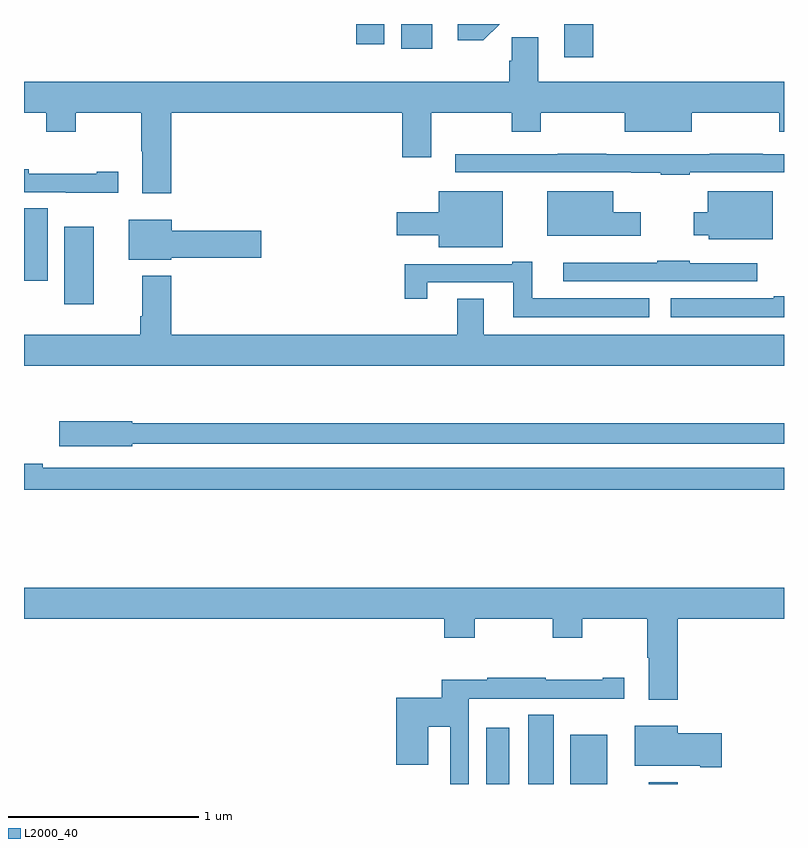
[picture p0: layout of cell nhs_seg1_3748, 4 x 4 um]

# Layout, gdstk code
import gdstk
lib = gdstk.Library(unit=1e-6, precision=1e-09)
def R(c, l, rs):  # rectangles x0, y0, x1, y1
    for r in rs: c.add(gdstk.rectangle(r[:2], r[2:], *l))
def P(c, l, *ps):  # polygons
    for p in ps: c.add(gdstk.Polygon(p, *l))
L2000_40 = (2000, 40)

nhs_seg1_3748 = lib.new_cell('nhs_seg1_3748')
R(nhs_seg1_3748, L2000_40, [(317.432,548.199,317.554,548.494), (317.654,548.199,317.788,548.564), (317.876,548.199,318.07,548.458), (318.287,548.199,318.44,548.209), (315.212,550.725,315.367,551.131), (315,550.848,315.124,551.228), (317.843,552.024,317.996,552.199), (316.985,552.068,317.149,552.199), (316.749,552.093,316.897,552.199)])
P(nhs_seg1_3748, L2000_40, [(317.503,552.199),(317.283,552.199),(317.283,552.114),(317.418,552.114)],
  [(315.776,551.732),(316.991,551.732),(316.991,551.499),(317.143,551.499),(317.143,551.732),(317.566,551.732),(317.566,551.633),(317.721,551.633),(317.721,551.732),(318.161,551.732),(318.161,551.633),(318.514,551.633),(318.514,551.732),(318.976,551.732),(318.976,551.633),(319,551.633),(319,551.896),(317.707,551.896),(317.707,552.128),(317.568,552.128),(317.568,552.006),(317.555,552.006),(317.555,551.896),(315,551.896),(315,551.732),(315.118,551.732),(315.118,551.633),(315.273,551.633),(315.273,551.732),(315.616,551.732),(315.616,551.528),(315.623,551.528),(315.623,551.307),(315.776,551.307)],
  [(318.503,551.418),(319,551.418),(319,551.514),(318.887,551.514),(318.887,551.516),(318.61,551.516),(318.61,551.514),(318.065,551.514),(318.065,551.516),(317.809,551.516),(317.809,551.514),(317.271,551.514),(317.271,551.418),(318.196,551.418),(318.196,551.417),(318.35,551.417),(318.35,551.406),(318.503,551.406)],
  [(315.496,551.422),(315.383,551.422),(315.383,551.412),(315.025,551.412),(315.025,551.434),(315,551.434),(315,551.313),(315.22,551.313),(315.22,551.312),(315.496,551.312)],
  [(317.521,551.32),(317.183,551.32),(317.183,551.209),(316.962,551.209),(316.962,551.087),(317.183,551.087),(317.183,551.024),(317.521,551.024)],
  [(318.94,551.32),(318.599,551.32),(318.599,551.209),(318.524,551.209),(318.524,551.087),(318.603,551.087),(318.603,551.066),(318.94,551.066)],
  [(318.247,551.209),(318.1,551.209),(318.1,551.32),(317.753,551.32),(317.753,551.084),(318.247,551.084)],
  [(315.774,550.969),(316.249,550.969),(316.249,551.111),(315.778,551.111),(315.778,551.17),(315.551,551.17),(315.551,550.958),(315.774,550.958)],
  [(318.859,550.941),(318.503,550.941),(318.503,550.954),(318.334,550.954),(318.334,550.942),(317.838,550.942),(317.838,550.845),(318.859,550.845)],
  [(318.292,550.756),(317.674,550.756),(317.674,550.948),(317.57,550.948),(317.57,550.935),(317.005,550.935),(317.005,550.752),(317.122,550.752),(317.122,550.839),(317.576,550.839),(317.576,550.655),(318.292,550.655)],
  [(319,550.564),(317.419,550.564),(317.419,550.754),(317.279,550.754),(317.279,550.564),(315.776,550.564),(315.776,550.873),(315.623,550.873),(315.623,550.66),(315.611,550.66),(315.611,550.564),(315,550.564),(315,550.4),(319,550.4)],
  [(319,550.766),(318.946,550.766),(318.946,550.756),(318.405,550.756),(318.405,550.655),(319,550.655)],
  [(315.57,549.99),(319,549.99),(319,550.099),(315.57,550.099),(315.57,550.107),(315.186,550.107),(315.186,549.977),(315.57,549.977)],
  [(319,549.864),(315.098,549.864),(315.098,549.884),(315,549.884),(315,549.748),(319,549.748)],
  [(315,549.068),(317.213,549.068),(317.213,548.969),(317.373,548.969),(317.373,549.068),(317.782,549.068),(317.782,548.969),(317.937,548.969),(317.937,549.068),(318.28,549.068),(318.28,548.864),(318.287,548.864),(318.287,548.643),(318.44,548.643),(318.44,549.068),(319,549.068),(319,549.232),(315,549.232)],
  [(317.34,548.648),(317.55,548.648),(317.55,548.649),(317.884,548.649),(317.884,548.648),(318.16,548.648),(318.16,548.758),(318.047,548.758),(318.047,548.748),(317.747,548.748),(317.747,548.758),(317.437,548.758),(317.437,548.748),(317.198,548.748),(317.198,548.653),(316.958,548.653),(316.958,548.301),(317.128,548.301),(317.128,548.501),(317.244,548.501),(317.244,548.199),(317.34,548.199)],
  [(318.673,548.465),(318.442,548.465),(318.442,548.506),(318.215,548.506),(318.215,548.294),(318.56,548.294),(318.56,548.287),(318.673,548.287)])

lib.write_gds('nhs_seg1_3748.gds')
